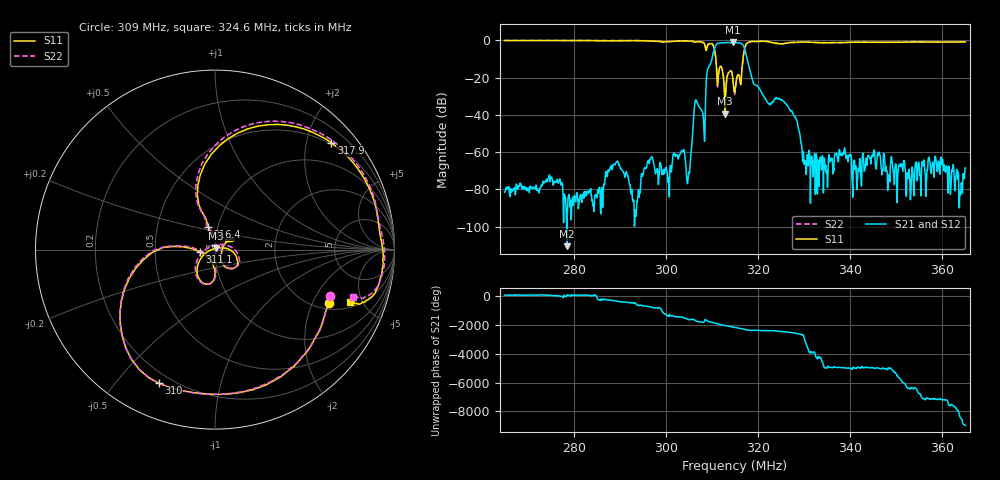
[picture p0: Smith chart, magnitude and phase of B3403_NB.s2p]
! Matrix data file written by TouchstoneData, EPCOS AG
! FILENAME: "B3403_NB.s2p"
! COMMENT: "PCB2023"
! INFO: nport=2, nfreq=1601
! DATE: "Thu Jan 16 2014"
! USER: "Hiroshi Tanaka"
! port | pin | signal
!  1  |  1  |  in
!  2  |  4  |  out
# MHZ S MA R 50
! freq  magS11 angS11  magS21 angS21  magS12 angS12  magS22 angS22
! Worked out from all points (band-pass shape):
!   1601 points, 265 MHz to 365 MHz, reference 50 ohm
!   highest |S21| = -1.14 dB at 314.6 MHz (marker M1); lowest = -110.4 dB at 278.5 MHz (marker M2)
!   |S21| within 3 dB of the highest: 310.6 MHz to 317 MHz (6.429 MHz wide, 2.05 % of centre)
!   lowest |S11| = -39.3 dB at 312.9 MHz (marker M3), VSWR 1.02, Z = 50.7 + j0.808 ohm
!   |S11| at or under -10 dB: 310.8 MHz to 316.7 MHz (5.903 MHz wide, 1.88 % of centre)
!   |S22| runs from -31.7 to -0.1 dB; largest |S21 - S12| = 0
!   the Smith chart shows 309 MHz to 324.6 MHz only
!   S11 on the Smith chart (normalised r, x): 309 MHz: 2.29, -2.66; 310 MHz: 0.15, -0.65; 311.1 MHz: 0.84, -0.02; 316.4 MHz: 0.90, +0.23; 317.9 MHz: 0.47, +2.49; 324.6 MHz: 2.42, -3.98
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265  0.9831 -42.4  8.331e-05 47.2  8.331e-05 47.2  0.985 -40.6
278.5  0.9798 -46.9  3.006e-06 47.2  3.006e-06 47.2  0.9831 -45.2
281.6875  0.9825 -48.5  5.106e-05 43.3  5.106e-05 43.3  0.9857 -46.7
289.1875  0.9656 -52.8  0.0005213 5.0  0.0005213 5.0  0.9723 -51.1
292.8125  0.9781 -55.7  5.435e-05 -126.2  5.435e-05 -126.2  0.9821 -54.2
298.375  0.9334 -63.8  0.0001351 -117.7  0.0001351 -117.7  0.9457 -62.4
303.5625  0.9589 -73.8  0.001048 -46.0  0.001048 -46.0  0.9648 -72.9
304.875  0.9576 -81.2  0.0002264 164.4  0.0002264 164.4  0.9632 -80.3
306.4375  0.8908 -93.1  0.02484 77.3  0.02484 77.3  0.897 -92.2
308.0625  0.872 -132.7  0.0103 -25.2  0.0103 -25.2  0.8736 -132.9
309  0.6991 -25.2  0.1516 59.5  0.1516 59.5  0.6911 -22.2
310  0.8079 -112.9  0.3189 -29.5  0.3189 -29.5  0.8083 -112.5
311.125  0.08696 -172.4  0.8148 -133.8  0.8148 -133.8  0.0833 -176.6
312.875  0.01079 47.6  0.8651 102.9  0.8651 102.9  0.026 86.8
314.5625  0.08371 -62.0  0.877 7.3  0.877 7.3  0.08468 -60.2
315  0.04427 12.1  0.8662 -18.2  0.8662 -18.2  0.03854 15.7
316.4375  0.1311 106.9  0.8045 -112.5  0.8045 -112.5  0.1418 108.8
317.875  0.8805 42.5  0.2355 144.7  0.2355 144.7  0.8845 45.2
324.5625  0.8052 -21.1  0.02778 71.7  0.02778 71.7  0.8107 -19.0
331.6875  0.8789 -29.9  0.0007583 39.9  0.0007583 39.9  0.8816 -27.7
348.375  0.8794 -36.0  0.0001803 30.3  0.0001803 30.3  0.8826 -33.9
365  0.9067 -40.3  0.0003751 33.9  0.0003751 33.9  0.9098 -37.6
